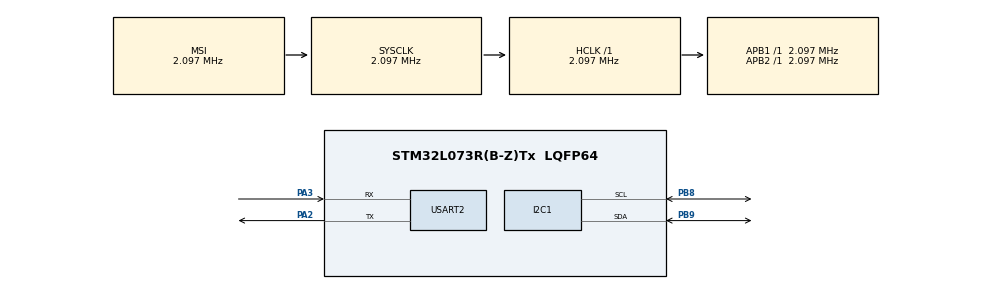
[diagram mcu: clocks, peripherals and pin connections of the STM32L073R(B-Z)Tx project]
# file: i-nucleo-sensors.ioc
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I2C1.Timing=0x00000608
Mcu.Family=STM32L0
Mcu.Name=STM32L073R(B-Z)Tx
Mcu.Package=LQFP64
PA2.Mode=Asynchronous
PA2.Signal=USART2_TX
PA3.Mode=Asynchronous
PA3.Signal=USART2_RX
PB8.Mode=I2C
PB8.Signal=I2C1_SCL
PB9.Mode=I2C
PB9.Signal=I2C1_SDA
ProjectManager.HeapSize=0x200
ProjectManager.StackSize=0x400
ProjectManager.TargetToolchain=STM32CubeIDE
RCC.AHBFreq_Value=2097000
RCC.APB1Freq_Value=2097000
RCC.APB1TimFreq_Value=2097000
RCC.APB2Freq_Value=2097000
RCC.APB2TimFreq_Value=2097000
RCC.HSE_VALUE=8000000
RCC.HSI16_VALUE=16000000
RCC.HSI48_VALUE=48000000
RCC.HSI_VALUE=16000000
RCC.LSE_VALUE=32768
RCC.MSI_VALUE=2097000
RCC.SYSCLKFreq_VALUE=2097000
RCC.VCOOutputFreq_Value=48000000
USART2.VirtualMode-Asynchronous=VM_ASYNC
board=custom

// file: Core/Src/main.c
/* USER CODE BEGIN Header */
/**
  ******************************************************************************
  * @file           : main.c
  * @brief          : Main program body
  ******************************************************************************
  * @attention
  *
  * Copyright (c) 2025 STMicroelectronics.
  * All rights reserved.
  *
  * This software is licensed under terms that can be found in the LICENSE file
  * in the root directory of this software component.
  * If no LICENSE file comes with this software, it is provided AS-IS.
  *
  ******************************************************************************
  */
/* USER CODE END Header */
#include "main.h"

/* USER CODE BEGIN Includes */
#include "../I_NUCLEO_LRWAN1/i_nucleo_lrwan1_humidity.h"
#include "../I_NUCLEO_LRWAN1/i_nucleo_lrwan1_pressure.h"
#include "../I_NUCLEO_LRWAN1/i_nucleo_lrwan1_temperature.h"

/* USER CODE END Includes */

I2C_HandleTypeDef hi2c1;

UART_HandleTypeDef huart2;

void SystemClock_Config(void);
static void MX_GPIO_Init(void);
static void MX_I2C1_Init(void);
static void MX_USART2_UART_Init(void);

int main(void)
{

  /* MCU Configuration--------------------------------------------------------*/

  /* Reset of all peripherals, Initializes the Flash interface and the Systick. */
  HAL_Init();

  /* Configure the system clock */
  SystemClock_Config();

  /* Initialize all configured peripherals */
  MX_GPIO_Init();
  MX_I2C1_Init();
  MX_USART2_UART_Init();
  /* USER CODE BEGIN 2 */
  float value;//for check

  void * h_humidity = NULL;
  float humidity = 0.0;
  BSP_HUMIDITY_Init(-1, &h_humidity);
  BSP_HUMIDITY_Sensor_Enable(h_humidity);
  BSP_HUMIDITY_Get_Hum(h_humidity, &humidity);

  void * h_pressure = NULL;
  float pressure = 0.0;
  BSP_PRESSURE_Init(-1, &h_pressure);
  BSP_PRESSURE_Sensor_Enable(h_pressure);
  BSP_PRESSURE_Get_Press(h_pressure, &pressure);

  void * h_temperature = NULL;
  float temperature = 0.0;
  BSP_TEMPERATURE_Init(-1, &h_temperature);
  BSP_TEMPERATURE_Sensor_Enable(h_temperature);
  BSP_TEMPERATURE_Get_Temp(h_temperature, &temperature);

  /* USER CODE END 2 */

  /* Infinite loop */
  while (1)
  {

  }
}

void SystemClock_Config(void)
{
  RCC_OscInitTypeDef RCC_OscInitStruct = {0};
  RCC_ClkInitTypeDef RCC_ClkInitStruct = {0};
  RCC_PeriphCLKInitTypeDef PeriphClkInit = {0};

  /** Configure the main internal regulator output voltage
  */
  __HAL_PWR_VOLTAGESCALING_CONFIG(PWR_REGULATOR_VOLTAGE_SCALE1);

  /** Initializes the RCC Oscillators according to the specified parameters
  * in the RCC_OscInitTypeDef structure.
  */
  RCC_OscInitStruct.OscillatorType = RCC_OSCILLATORTYPE_MSI;
  RCC_OscInitStruct.MSIState = RCC_MSI_ON;
  RCC_OscInitStruct.MSICalibrationValue = 0;
  RCC_OscInitStruct.MSIClockRange = RCC_MSIRANGE_5;
  RCC_OscInitStruct.PLL.PLLState = RCC_PLL_NONE;
  if (HAL_RCC_OscConfig(&RCC_OscInitStruct) != HAL_OK)
  {
    Error_Handler();
  }

  /** Initializes the CPU, AHB and APB buses clocks
  */
  RCC_ClkInitStruct.ClockType = RCC_CLOCKTYPE_HCLK|RCC_CLOCKTYPE_SYSCLK
                              |RCC_CLOCKTYPE_PCLK1|RCC_CLOCKTYPE_PCLK2;
  RCC_ClkInitStruct.SYSCLKSource = RCC_SYSCLKSOURCE_MSI;
  RCC_ClkInitStruct.AHBCLKDivider = RCC_SYSCLK_DIV1;
  RCC_ClkInitStruct.APB1CLKDivider = RCC_HCLK_DIV1;
  RCC_ClkInitStruct.APB2CLKDivider = RCC_HCLK_DIV1;

  if (HAL_RCC_ClockConfig(&RCC_ClkInitStruct, FLASH_LATENCY_0) != HAL_OK)
  {
    Error_Handler();
  }
  PeriphClkInit.PeriphClockSelection = RCC_PERIPHCLK_USART2|RCC_PERIPHCLK_I2C1;
  PeriphClkInit.Usart2ClockSelection = RCC_USART2CLKSOURCE_PCLK1;
  PeriphClkInit.I2c1ClockSelection = RCC_I2C1CLKSOURCE_PCLK1;
  if (HAL_RCCEx_PeriphCLKConfig(&PeriphClkInit) != HAL_OK)
  {
    Error_Handler();
  }
}

static void MX_I2C1_Init(void)
{

  hi2c1.Instance = I2C1;
  hi2c1.Init.Timing = 0x00000608;
  hi2c1.Init.OwnAddress1 = 0;
  hi2c1.Init.AddressingMode = I2C_ADDRESSINGMODE_7BIT;
  hi2c1.Init.DualAddressMode = I2C_DUALADDRESS_DISABLE;
  hi2c1.Init.OwnAddress2 = 0;
  hi2c1.Init.OwnAddress2Masks = I2C_OA2_NOMASK;
  hi2c1.Init.GeneralCallMode = I2C_GENERALCALL_DISABLE;
  hi2c1.Init.NoStretchMode = I2C_NOSTRETCH_DISABLE;
  if (HAL_I2C_Init(&hi2c1) != HAL_OK)
  {
    Error_Handler();
  }

  /** Configure Analogue filter
  */
  if (HAL_I2CEx_ConfigAnalogFilter(&hi2c1, I2C_ANALOGFILTER_ENABLE) != HAL_OK)
  {
    Error_Handler();
  }

  /** Configure Digital filter
  */
  if (HAL_I2CEx_ConfigDigitalFilter(&hi2c1, 0) != HAL_OK)
  {
    Error_Handler();
  }

}

static void MX_USART2_UART_Init(void)
{

  huart2.Instance = USART2;
  huart2.Init.BaudRate = 115200;
  huart2.Init.WordLength = UART_WORDLENGTH_8B;
  huart2.Init.StopBits = UART_STOPBITS_1;
  huart2.Init.Parity = UART_PARITY_NONE;
  huart2.Init.Mode = UART_MODE_TX_RX;
  huart2.Init.HwFlowCtl = UART_HWCONTROL_NONE;
  huart2.Init.OverSampling = UART_OVERSAMPLING_16;
  huart2.Init.OneBitSampling = UART_ONE_BIT_SAMPLE_DISABLE;
  huart2.AdvancedInit.AdvFeatureInit = UART_ADVFEATURE_NO_INIT;
  if (HAL_UART_Init(&huart2) != HAL_OK)
  {
    Error_Handler();
  }

}

static void MX_GPIO_Init(void)
{

  /* GPIO Ports Clock Enable */
  __HAL_RCC_GPIOA_CLK_ENABLE();
  __HAL_RCC_GPIOB_CLK_ENABLE();

}

void Error_Handler(void)
{
  __disable_irq();
  while (1)
  {
  }
}
